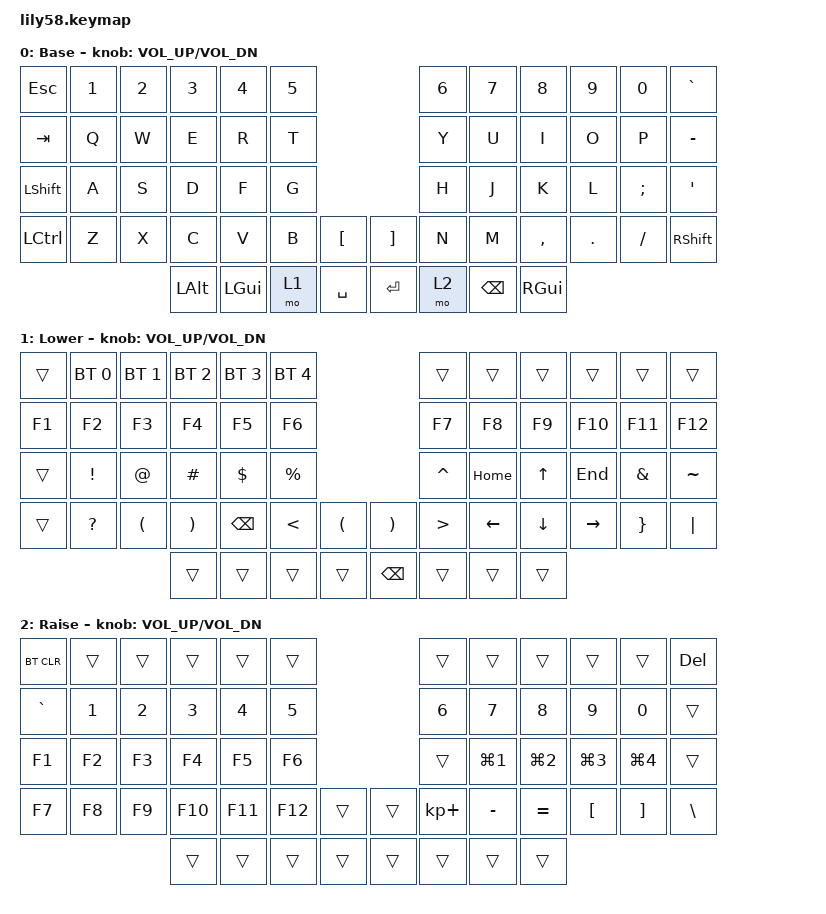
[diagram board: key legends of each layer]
/*
 * Copyright (c) 2020 The ZMK Contributors
 *
 * SPDX-License-Identifier: MIT
 */

#include <behaviors.dtsi>
#include <dt-bindings/zmk/bt.h>
#include <dt-bindings/zmk/keys.h>

/ {
    keymap {
        compatible = "zmk,keymap";

        default_layer {
            // ------------------------------------------------------------------------------------------------------------
            // |  ESC  |  1  |  2  |  3   |  4   |  5   |                   |  6   |  7    |  8    |  9   |   0   |   `   |
            // |  TAB  |  Q  |  W  |  E   |  R   |  T   |                   |  Y   |  U    |  I    |  O   |   P   |   -   |
            // |  CTRL |  A  |  S  |  D   |  F   |  G   |                   |  H   |  J    |  K    |  L   |   ;   |   '   |
            // | SHIFT |  Z  |  X  |  C   |  V   |  B   |   "["  |  |  "]"  |  N   |  M    |  ,    |  .   |   /   | SHIFT |
            //                     | ALT  | GUI  | LOWER|  SPACE |  | ENTER | RAISE| BSPC  | GUI   |

            display-name = "Base";
            bindings = <
&kp ESC     &kp N1  &kp N2  &kp N3    &kp N4    &kp N5                         &kp N6  &kp N7    &kp N8     &kp N9   &kp N0    &kp GRAVE
&kp TAB     &kp Q   &kp W   &kp E     &kp R     &kp T                          &kp Y   &kp U     &kp I      &kp O    &kp P     &kp MINUS
&kp LSHIFT  &kp A   &kp S   &kp D     &kp F     &kp G                          &kp H   &kp J     &kp K      &kp L    &kp SEMI  &kp SQT
&kp LCTRL   &kp Z   &kp X   &kp C     &kp V     &kp B   &kp LBKT     &kp RBKT  &kp N   &kp M     &kp COMMA  &kp DOT  &kp FSLH  &kp RSHFT
                            &kp LALT  &kp LGUI  &mo 1   &kp SPACE    &kp RET   &mo 2   &kp BSPC  &kp RGUI
            >;

            sensor-bindings = <&inc_dec_kp C_VOL_UP C_VOL_DN>;
        };

        L1 {
            // ------------------------------------------------------------------------------------------------------------
            // | BTCLR | BT1 | BT2 |  BT3 |  BT4 |  BT5 |                   |      |       |       |      |       |       |
            // |  F1   |  F2 |  F3 |  F4  |  F5  |  F6  |                   |  F7  |  F8   |  F9   |  F10 |  F11  |  F12  |
            // |   `   |  !  |  @  |  #   |  $   |  %   |                   |  ^   |  &    |  *    |  (   |   )   |   ~   |
            // |       |     |     |      |      |      |        |  |       |      |  _    |  +    |  {   |   }   |  "|"  |
            //                     |      |      |      |        |  |       |      |       |       |

            display-name = "Lower";
            bindings = <
&trans  &bt BT_SEL 0  &bt BT_SEL 1          &bt BT_SEL 2           &bt BT_SEL 3   &bt BT_SEL 4                                                  &trans            &trans          &trans          &trans           &trans    &trans
&kp F1  &kp F2        &kp F3                &kp F4                 &kp F5         &kp F6                                                        &kp F7            &kp F8          &kp F9          &kp F10          &kp F11   &kp F12
&trans  &kp EXCL      &kp AT                &kp HASH               &kp DOLLAR     &kp PRCNT                                                     &kp CARET         &kp HOME        &kp UP_ARROW    &kp END          &kp AMPS  &kp TILDE
&trans  &kp QUESTION  &kp LEFT_PARENTHESIS  &kp RIGHT_PARENTHESIS  &kp BACKSPACE  &kp LESS_THAN  &kp LEFT_PARENTHESIS    &kp RIGHT_PARENTHESIS  &kp GREATER_THAN  &kp LEFT_ARROW  &kp DOWN_ARROW  &kp RIGHT_ARROW  &kp RBRC  &kp PIPE
                                            &trans                 &trans         &trans         &trans                  &kp BACKSPACE          &trans            &trans          &trans
            >;

            sensor-bindings = <&inc_dec_kp C_VOL_UP C_VOL_DN>;
        };

        L2 {
            // ------------------------------------------------------------------------------------------------------------
            // |       |     |     |      |      |      |                   |      |       |       |      |       |       |
            // |   `   |  1  |  2  |  3   |  4   |  5   |                   |  6   |   7   |   8   |  9   |   0   |       |
            // |   F1  |  F2 |  F3 |  F4  |  F5  |  F6  |                   |      |   <-  |   v   |  ^   |  ->   |       |
            // |   F7  |  F8 |  F9 |  F10 |  F11 |  F12 |        |  |       |  +   |   -   |   =   |  [   |   ]   |   \   |
            //                     |      |      |      |        |  |       |      |       |       |

            display-name = "Raise";
            bindings = <
&bt BT_CLR  &trans  &trans  &trans   &trans   &trans                     &trans       &trans            &trans            &trans            &trans            &kp DEL
&kp GRAVE   &kp N1  &kp N2  &kp N3   &kp N4   &kp N5                     &kp N6       &kp N7            &kp N8            &kp N9            &kp N0            &trans
&kp F1      &kp F2  &kp F3  &kp F4   &kp F5   &kp F6                     &trans       &kp LG(NUMBER_1)  &kp LG(NUMBER_2)  &kp LG(NUMBER_3)  &kp LG(NUMBER_4)  &trans
&kp F7      &kp F8  &kp F9  &kp F10  &kp F11  &kp F12  &trans    &trans  &kp KP_PLUS  &kp MINUS         &kp EQUAL         &kp LBKT          &kp RBKT          &kp BSLH
                            &trans   &trans   &trans   &trans    &trans  &trans       &trans            &trans
            >;

            sensor-bindings = <&inc_dec_kp C_VOL_UP C_VOL_DN>;
        };
    };
};
